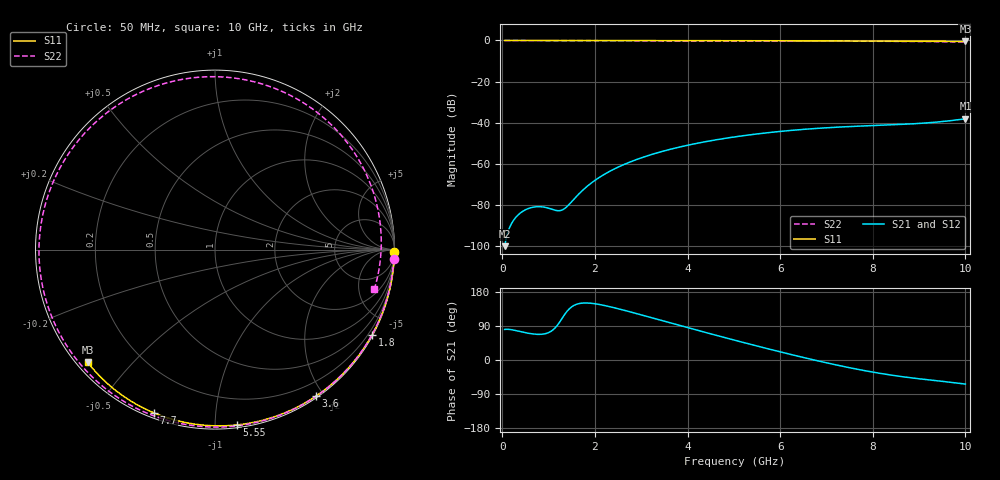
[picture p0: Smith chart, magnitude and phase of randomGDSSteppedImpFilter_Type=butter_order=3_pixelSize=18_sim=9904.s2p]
! freq	dB(S11)	phase(S11)	dB(S12)	phase(S12)
!  dB(S21)	phase(S21)	dB(S22)	phase(S22)
!S-par simulation data
#  GHz  S  DB  R 50
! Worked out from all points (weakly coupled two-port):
!   200 points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, 50 MHz to 10 GHz, reference 50 ohm
!   highest |S21| = -38.17 dB at 10 GHz (marker M1); lowest = -100.2 dB at 50 MHz (marker M2)
!   lowest |S11| = -0.5 dB at 10 GHz (marker M3), VSWR 37.08, Z = 1.54 - j18.9 ohm
!   |S11| at or under -10 dB: nowhere
!   |S22| runs from -0.8 to 0.0 dB; largest |S21 - S12| = 0
!   S11 on the Smith chart (normalised r, x): 50 MHz: open; 1.8 GHz: 0.03, -3.95; 3.6 GHz: 0.02, -1.90; 5.55 GHz: 0.02, -1.13; 7.7 GHz: 0.02, -0.69; 10 GHz: 0.03, -0.38
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0.05  -0.00 -0.8  -100.22 80.6  -100.22 80.6  -0.01 -2.9
0.4  -0.01 -6.4  -83.88 74.7  -83.88 74.7  -0.04 -23.8
0.75  -0.02 -12.0  -81.00 67.8  -81.00 67.8  -0.06 -43.9
1.05  -0.02 -16.7  -82.07 75.5  -82.07 75.5  -0.07 -60.2
1.4  -0.03 -22.2  -80.86 128.8  -80.86 128.8  -0.09 -77.9
1.45  -0.03 -23.0  -79.71 135.4  -79.71 135.4  -0.09 -80.3
1.75  -0.04 -27.6  -72.69 150.4  -72.69 150.4  -0.10 -94.2
1.8  -0.04 -28.4  -71.68 150.5  -71.68 150.5  -0.10 -96.4
2.45  -0.05 -38.4  -62.25 136.9  -62.25 136.9  -0.12 -122.8
2.9  -0.06 -45.2  -58.00 122.5  -58.00 122.5  -0.13 -139.0
3.4  -0.07 -52.6  -54.39 105.7  -54.39 105.7  -0.14 -155.4
3.6  -0.07 -55.5  -53.18 98.9  -53.18 98.9  -0.15 -161.7
4.3  -0.09 -65.6  -49.68 75.6  -49.68 75.6  -0.17 177.6
5.05  -0.12 -76.0  -46.88 51.2  -46.88 51.2  -0.20 156.3
5.55  -0.14 -82.8  -45.41 35.4  -45.41 35.4  -0.22 142.2
6.7  -0.19 -97.9  -42.99 1.0  -42.99 1.0  -0.29 108.6
7.2  -0.22 -104.2  -42.28 -12.7  -42.28 -12.7  -0.32 93.0
7.7  -0.25 -110.5  -41.74 -25.2  -41.74 -25.2  -0.35 76.5
8.35  -0.30 -118.5  -41.16 -39.0  -41.16 -39.0  -0.42 53.5
9.25  -0.39 -129.4  -40.01 -53.0  -40.01 -53.0  -0.56 18.4
9.65  -0.43 -134.3  -39.14 -58.4  -39.14 -58.4  -0.66 1.5
10  -0.47 -138.5  -38.17 -63.6  -38.17 -63.6  -0.77 -13.8
